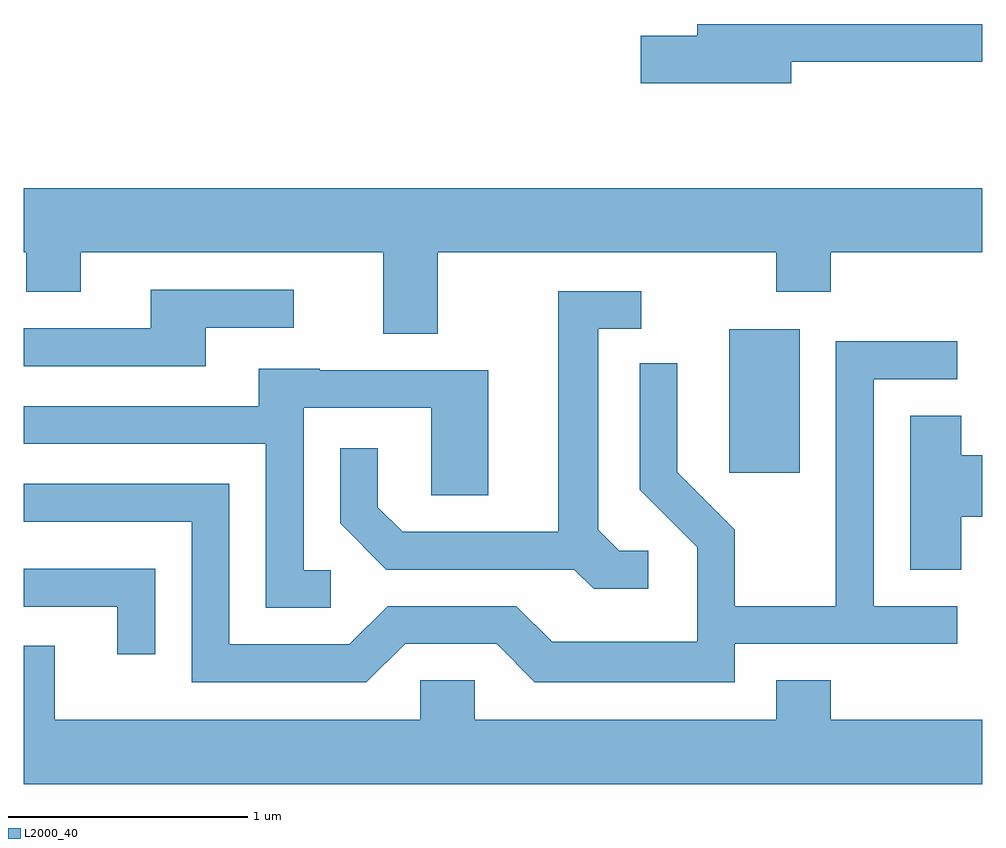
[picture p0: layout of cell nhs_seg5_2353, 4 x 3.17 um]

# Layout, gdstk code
import gdstk
lib = gdstk.Library(unit=1e-6, precision=1e-09)
def R(c, l, rs):  # rectangles x0, y0, x1, y1
    for r in rs: c.add(gdstk.rectangle(r[:2], r[2:], *l))
def P(c, l, *ps):  # polygons
    for p in ps: c.add(gdstk.Polygon(p, *l))
L2000_40 = (2000, 40)

nhs_seg5_2353 = lib.new_cell('nhs_seg5_2353')
R(nhs_seg5_2353, L2000_40, [(258.556,1418.136,258.849,1418.734)])
P(nhs_seg5_2353, L2000_40, [(258.814,1419.851),(259.611,1419.851),(259.611,1420.009),(258.421,1420.009),(258.421,1419.959),(258.186,1419.959),(258.186,1419.761),(258.814,1419.761)],
  [(257.339,1419.056),(258.751,1419.056),(258.751,1418.891),(258.979,1418.891),(258.979,1419.056),(259.611,1419.056),(259.611,1419.324),(255.611,1419.324),(255.611,1419.056),(255.621,1419.056),(255.621,1418.891),(255.849,1418.891),(255.849,1419.056),(257.111,1419.056),(257.111,1418.716),(257.339,1418.716)],
  [(256.369,1418.741),(256.738,1418.741),(256.738,1418.899),(256.141,1418.899),(256.141,1418.739),(255.611,1418.739),(255.611,1418.581),(256.369,1418.581)],
  [(258.218,1417.809),(258.097,1417.809),(258.009,1417.897),(258.009,1418.736),(258.188,1418.736),(258.188,1418.894),(257.841,1418.894),(257.841,1417.889),(257.192,1417.889),(257.089,1417.992),(257.089,1418.238),(256.931,1418.238),(256.931,1417.924),(257.123,1417.731),(257.909,1417.731),(257.989,1417.651),(258.218,1417.651)],
  [(257.202,1417.421),(257.584,1417.421),(257.743,1417.261),(258.579,1417.261),(258.579,1417.421),(259.508,1417.421),(259.508,1417.579),(259.159,1417.579),(259.159,1418.526),(259.508,1418.526),(259.508,1418.684),(259.001,1418.684),(259.001,1417.579),(258.579,1417.579),(258.579,1417.897),(258.339,1418.137),(258.339,1418.593),(258.181,1418.593),(258.181,1418.064),(258.421,1417.824),(258.421,1417.429),(257.817,1417.429),(257.666,1417.579),(257.129,1417.579),(256.969,1417.419),(256.469,1417.419),(256.469,1418.089),(255.611,1418.089),(255.611,1417.931),(256.311,1417.931),(256.311,1417.261),(257.041,1417.261)],
  [(256.892,1417.729),(256.779,1417.729),(256.779,1418.406),(257.311,1418.406),(257.311,1418.041),(257.549,1418.041),(257.549,1418.564),(256.845,1418.564),(256.845,1418.569),(256.591,1418.569),(256.591,1418.414),(255.611,1418.414),(255.611,1418.256),(256.621,1418.256),(256.621,1417.571),(256.892,1417.571)],
  [(259.524,1417.951),(259.611,1417.951),(259.611,1418.209),(259.524,1418.209),(259.524,1418.374),(259.311,1418.374),(259.311,1417.731),(259.524,1417.731)],
  [(256.159,1417.734),(255.611,1417.734),(255.611,1417.576),(256.001,1417.576),(256.001,1417.378),(256.159,1417.378)],
  [(259.611,1417.104),(258.979,1417.104),(258.979,1417.269),(258.751,1417.269),(258.751,1417.104),(257.494,1417.104),(257.494,1417.269),(257.266,1417.269),(257.266,1417.104),(255.739,1417.104),(255.739,1417.414),(255.611,1417.414),(255.611,1416.836),(259.611,1416.836)])

lib.write_gds('nhs_seg5_2353.gds')
